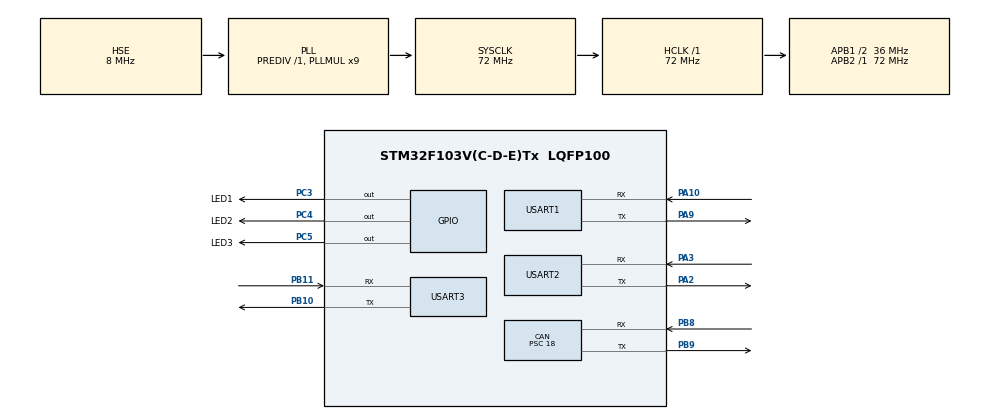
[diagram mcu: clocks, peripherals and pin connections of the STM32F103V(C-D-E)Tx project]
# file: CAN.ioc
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CAN.BS1=CAN_BS1_7TQ
CAN.BS2=CAN_BS2_8TQ
CAN.CalculateTimeBit=8000
CAN.CalculateTimeQuantum=500.0
CAN.Prescaler=18
Dma.Request0=USART2_RX
Dma.Request1=USART2_TX
Dma.USART2_RX.0.Direction=DMA_PERIPH_TO_MEMORY
Dma.USART2_RX.0.Instance=DMA1_Channel6
Dma.USART2_RX.0.MemDataAlignment=DMA_MDATAALIGN_BYTE
Dma.USART2_RX.0.MemInc=DMA_MINC_ENABLE
Dma.USART2_RX.0.Mode=DMA_NORMAL
Dma.USART2_RX.0.PeriphDataAlignment=DMA_PDATAALIGN_BYTE
Dma.USART2_RX.0.PeriphInc=DMA_PINC_DISABLE
Dma.USART2_RX.0.Priority=DMA_PRIORITY_LOW
Dma.USART2_TX.1.Direction=DMA_MEMORY_TO_PERIPH
Dma.USART2_TX.1.Instance=DMA1_Channel7
Dma.USART2_TX.1.MemDataAlignment=DMA_MDATAALIGN_BYTE
Dma.USART2_TX.1.MemInc=DMA_MINC_ENABLE
Dma.USART2_TX.1.Mode=DMA_NORMAL
Dma.USART2_TX.1.PeriphDataAlignment=DMA_PDATAALIGN_BYTE
Dma.USART2_TX.1.PeriphInc=DMA_PINC_DISABLE
Dma.USART2_TX.1.Priority=DMA_PRIORITY_LOW
FREERTOS.Tasks01=Task0,0,256,Func_Task0,Default,NULL,Dynamic,NULL,NULL;Task1,0,256,Func_Task1,Default,NULL,Dynamic,NULL,NULL
Mcu.Family=STM32F1
Mcu.Name=STM32F103V(C-D-E)Tx
Mcu.Package=LQFP100
NVIC.DMA1_Channel6_IRQn=true\:5\:0\:false\:false\:true\:true\:false
NVIC.DMA1_Channel7_IRQn=true\:5\:0\:false\:false\:true\:true\:false
NVIC.PriorityGroup=NVIC_PRIORITYGROUP_4
NVIC.TIM4_IRQn=true\:0\:0\:false\:false\:true\:false\:false
NVIC.TimeBase=TIM4_IRQn
NVIC.TimeBaseIP=TIM4
NVIC.USART1_IRQn=true\:6\:0\:true\:false\:true\:true\:true
NVIC.USART2_IRQn=true\:5\:0\:true\:true\:true\:1\:true\:true
NVIC.USART3_IRQn=true\:7\:0\:true\:true\:true\:2\:true\:true
NVIC.USB_LP_CAN1_RX0_IRQn=true\:5\:0\:false\:false\:true\:true\:true
OSC_IN.Mode=HSE-External-Oscillator
OSC_IN.Signal=RCC_OSC_IN
OSC_OUT.Mode=HSE-External-Oscillator
OSC_OUT.Signal=RCC_OSC_OUT
PA10.Mode=Asynchronous
PA10.Signal=USART1_RX
PA13.Mode=Serial_Wire
PA13.Signal=SYS_JTMS-SWDIO
PA14.Mode=Serial_Wire
PA14.Signal=SYS_JTCK-SWCLK
PA2.Mode=Asynchronous
PA2.Signal=USART2_TX
PA3.Mode=Asynchronous
PA3.Signal=USART2_RX
PA9.Mode=Asynchronous
PA9.Signal=USART1_TX
PB10.Mode=Asynchronous
PB10.Signal=USART3_TX
PB11.Mode=Asynchronous
PB11.Signal=USART3_RX
PB8.Mode=Master
PB8.Signal=CAN_RX
PB9.Mode=Master
PB9.Signal=CAN_TX
PC3.GPIO_Label=LED1
PC3.Signal=GPIO_Output
PC4.GPIO_Label=LED2
PC4.Signal=GPIO_Output
PC5.GPIO_Label=LED3
PC5.Signal=GPIO_Output
ProjectManager.HeapSize=0x200
ProjectManager.StackSize=0x400
ProjectManager.TargetToolchain=Makefile
RCC.AHBFreq_Value=72000000
RCC.APB1CLKDivider=RCC_HCLK_DIV2
RCC.APB1Freq_Value=36000000
RCC.APB1TimFreq_Value=72000000
RCC.APB2Freq_Value=72000000
RCC.APB2TimFreq_Value=72000000
RCC.HCLKFreq_Value=72000000
RCC.PLLMUL=RCC_PLL_MUL9
RCC.PLLSourceVirtual=RCC_PLLSOURCE_HSE
RCC.SYSCLKFreq_VALUE=72000000
RCC.SYSCLKSource=RCC_SYSCLKSOURCE_PLLCLK
RCC.USBFreq_Value=72000000
USART1.VirtualMode=VM_ASYNC
USART2.VirtualMode=VM_ASYNC
USART3.VirtualMode=VM_ASYNC
VP_FREERTOS_VS_ENABLE.Mode=Enabled
VP_SYS_VS_tim4.Mode=TIM4
board=custom

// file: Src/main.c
/**
  ******************************************************************************
  * @file           : main.c
  * @brief          : Main program body
  ******************************************************************************
  * This notice applies to any and all portions of this file
  * that are not between comment pairs USER CODE BEGIN and
  * USER CODE END. Other portions of this file, whether
  * inserted by the user or by software development tools
  * are owned by their respective copyright owners.
  *
  * Copyright (c) 2019 STMicroelectronics International N.V.
  * All rights reserved.
  *
  * Redistribution and use in source and binary forms, with or without
  * modification, are permitted, provided that the following conditions are met:
  *
  * 1. Redistribution of source code must retain the above copyright notice,
  *    this list of conditions and the following disclaimer.
  * 2. Redistributions in binary form must reproduce the above copyright notice,
  *    this list of conditions and the following disclaimer in the documentation
  *    and/or other materials provided with the distribution.
  * 3. Neither the name of STMicroelectronics nor the names of other
  *    contributors to this software may be used to endorse or promote products
  *    derived from this software without specific written permission.
  * 4. This software, including modifications and/or derivative works of this
  *    software, must execute solely and exclusively on microcontroller or
  *    microprocessor devices manufactured by or for STMicroelectronics.
  * 5. Redistribution and use of this software other than as permitted under
  *    this license is void and will automatically terminate your rights under
  *    this license.
  *
  * THIS SOFTWARE IS PROVIDED BY STMICROELECTRONICS AND CONTRIBUTORS "AS IS"
  * AND ANY EXPRESS, IMPLIED OR STATUTORY WARRANTIES, INCLUDING, BUT NOT
  * LIMITED TO, THE IMPLIED WARRANTIES OF MERCHANTABILITY, FITNESS FOR A
  * PARTICULAR PURPOSE AND NON-INFRINGEMENT OF THIRD PARTY INTELLECTUAL PROPERTY
  * RIGHTS ARE DISCLAIMED TO THE FULLEST EXTENT PERMITTED BY LAW. IN NO EVENT
  * SHALL STMICROELECTRONICS OR CONTRIBUTORS BE LIABLE FOR ANY DIRECT, INDIRECT,
  * INCIDENTAL, SPECIAL, EXEMPLARY, OR CONSEQUENTIAL DAMAGES (INCLUDING, BUT NOT
  * LIMITED TO, PROCUREMENT OF SUBSTITUTE GOODS OR SERVICES; LOSS OF USE, DATA,
  * OR PROFITS; OR BUSINESS INTERRUPTION) HOWEVER CAUSED AND ON ANY THEORY OF
  * LIABILITY, WHETHER IN CONTRACT, STRICT LIABILITY, OR TORT (INCLUDING
  * NEGLIGENCE OR OTHERWISE) ARISING IN ANY WAY OUT OF THE USE OF THIS SOFTWARE,
  * EVEN IF ADVISED OF THE POSSIBILITY OF SUCH DAMAGE.
  *
  ******************************************************************************
  */
#include "main.h"
#include "stm32f1xx_hal.h"
#include "cmsis_os.h"

CAN_HandleTypeDef hcan;

UART_HandleTypeDef huart1;
UART_HandleTypeDef huart2;
UART_HandleTypeDef huart3;
DMA_HandleTypeDef hdma_usart2_rx;
DMA_HandleTypeDef hdma_usart2_tx;

osThreadId Task0Handle;
osThreadId Task1Handle;

/* USER CODE BEGIN PV */
/* Private variables ---------------------------------------------------------*/
CAN_FilterConfTypeDef  sFliterConfig;
CanTxMsgTypeDef TxMessage;
CanRxMsgTypeDef RxMessage;

uint8_t aRxBuffer1[1];
uint8_t aRxBuffer2[1];
uint8_t aRxBuffer3[1];

int aRxBuffer2_Data_Size = 256;
uint8_t aRxBuffer2_Data[256];
uint8_t recv_end_flag = 0;
uint8_t rx_len = 0;
/* USER CODE END PV */

void SystemClock_Config(void);
static void MX_GPIO_Init(void);
static void MX_DMA_Init(void);
static void MX_CAN_Init(void);
static void MX_USART1_UART_Init(void);
static void MX_USART2_UART_Init(void);
static void MX_USART3_UART_Init(void);
void Func_Task0(void const * argument);
void Func_Task1(void const * argument);
static void MX_NVIC_Init(void);

/* USER CODE BEGIN PFP */
/* Private function prototypes -----------------------------------------------*/

/* USER CODE END PFP */

int main(void)
{

  /* MCU Configuration----------------------------------------------------------*/

  /* Reset of all peripherals, Initializes the Flash interface and the Systick. */
  HAL_Init();

  /* Configure the system clock */
  SystemClock_Config();

  /* Initialize all configured peripherals */
  MX_GPIO_Init();
  MX_DMA_Init();
  MX_CAN_Init();
  MX_USART1_UART_Init();
  MX_USART2_UART_Init();
  MX_USART3_UART_Init();

  /* Initialize interrupts */
  MX_NVIC_Init();

  /* Create the thread(s) */
  /* definition and creation of Task0 */
  osThreadDef(Task0, Func_Task0, osPriorityNormal, 0, 256);
  Task0Handle = osThreadCreate(osThread(Task0), NULL);

  /* definition and creation of Task1 */
  osThreadDef(Task1, Func_Task1, osPriorityNormal, 0, 256);
  Task1Handle = osThreadCreate(osThread(Task1), NULL);

  /* Start scheduler */
  osKernelStart();

  /* We should never get here as control is now taken by the scheduler */

  /* Infinite loop */
  while (1)
  {

  }

}

void SystemClock_Config(void)
{

  RCC_OscInitTypeDef RCC_OscInitStruct;
  RCC_ClkInitTypeDef RCC_ClkInitStruct;

    /**Initializes the CPU, AHB and APB busses clocks
    */
  RCC_OscInitStruct.OscillatorType = RCC_OSCILLATORTYPE_HSE;
  RCC_OscInitStruct.HSEState = RCC_HSE_ON;
  RCC_OscInitStruct.HSEPredivValue = RCC_HSE_PREDIV_DIV1;
  RCC_OscInitStruct.HSIState = RCC_HSI_ON;
  RCC_OscInitStruct.PLL.PLLState = RCC_PLL_ON;
  RCC_OscInitStruct.PLL.PLLSource = RCC_PLLSOURCE_HSE;
  RCC_OscInitStruct.PLL.PLLMUL = RCC_PLL_MUL9;
  if (HAL_RCC_OscConfig(&RCC_OscInitStruct) != HAL_OK)
  {
    _Error_Handler(__FILE__, __LINE__);
  }

    /**Initializes the CPU, AHB and APB busses clocks
    */
  RCC_ClkInitStruct.ClockType = RCC_CLOCKTYPE_HCLK|RCC_CLOCKTYPE_SYSCLK
                              |RCC_CLOCKTYPE_PCLK1|RCC_CLOCKTYPE_PCLK2;
  RCC_ClkInitStruct.SYSCLKSource = RCC_SYSCLKSOURCE_PLLCLK;
  RCC_ClkInitStruct.AHBCLKDivider = RCC_SYSCLK_DIV1;
  RCC_ClkInitStruct.APB1CLKDivider = RCC_HCLK_DIV2;
  RCC_ClkInitStruct.APB2CLKDivider = RCC_HCLK_DIV1;

  if (HAL_RCC_ClockConfig(&RCC_ClkInitStruct, FLASH_LATENCY_2) != HAL_OK)
  {
    _Error_Handler(__FILE__, __LINE__);
  }

    /**Configure the Systick interrupt time
    */
  HAL_SYSTICK_Config(HAL_RCC_GetHCLKFreq()/1000);

    /**Configure the Systick
    */
  HAL_SYSTICK_CLKSourceConfig(SYSTICK_CLKSOURCE_HCLK);

  /* SysTick_IRQn interrupt configuration */
  HAL_NVIC_SetPriority(SysTick_IRQn, 15, 0);
}

/**
  * @brief NVIC Configuration.
  * @retval None
  */
static void MX_NVIC_Init(void)
{
  /* USART2_IRQn interrupt configuration */
  HAL_NVIC_SetPriority(USART2_IRQn, 5, 0);
  HAL_NVIC_EnableIRQ(USART2_IRQn);
  /* USART3_IRQn interrupt configuration */
  HAL_NVIC_SetPriority(USART3_IRQn, 7, 0);
  HAL_NVIC_EnableIRQ(USART3_IRQn);
}

/* CAN init function */
static void MX_CAN_Init(void)
{

  hcan.Instance = CAN1;
  hcan.Init.Prescaler = 18;
  hcan.Init.Mode = CAN_MODE_NORMAL;
  hcan.Init.SJW = CAN_SJW_1TQ;
  hcan.Init.BS1 = CAN_BS1_7TQ;
  hcan.Init.BS2 = CAN_BS2_8TQ;
  hcan.Init.TTCM = DISABLE;
  hcan.Init.ABOM = DISABLE;
  hcan.Init.AWUM = DISABLE;
  hcan.Init.NART = DISABLE;
  hcan.Init.RFLM = DISABLE;
  hcan.Init.TXFP = DISABLE;
  if (HAL_CAN_Init(&hcan) != HAL_OK)
  {
    _Error_Handler(__FILE__, __LINE__);
  }

}

/* USART1 init function */
static void MX_USART1_UART_Init(void)
{

  huart1.Instance = USART1;
  huart1.Init.BaudRate = 115200;
  huart1.Init.WordLength = UART_WORDLENGTH_8B;
  huart1.Init.StopBits = UART_STOPBITS_1;
  huart1.Init.Parity = UART_PARITY_NONE;
  huart1.Init.Mode = UART_MODE_TX_RX;
  huart1.Init.HwFlowCtl = UART_HWCONTROL_NONE;
  huart1.Init.OverSampling = UART_OVERSAMPLING_16;
  if (HAL_UART_Init(&huart1) != HAL_OK)
  {
    _Error_Handler(__FILE__, __LINE__);
  }

}

/* USART2 init function */
static void MX_USART2_UART_Init(void)
{

  huart2.Instance = USART2;
  huart2.Init.BaudRate = 115200;
  huart2.Init.WordLength = UART_WORDLENGTH_8B;
  huart2.Init.StopBits = UART_STOPBITS_1;
  huart2.Init.Parity = UART_PARITY_NONE;
  huart2.Init.Mode = UART_MODE_TX_RX;
  huart2.Init.HwFlowCtl = UART_HWCONTROL_NONE;
  huart2.Init.OverSampling = UART_OVERSAMPLING_16;
  if (HAL_UART_Init(&huart2) != HAL_OK)
  {
    _Error_Handler(__FILE__, __LINE__);
  }

}

/* USART3 init function */
static void MX_USART3_UART_Init(void)
{

  huart3.Instance = USART3;
  huart3.Init.BaudRate = 115200;
  huart3.Init.WordLength = UART_WORDLENGTH_8B;
  huart3.Init.StopBits = UART_STOPBITS_1;
  huart3.Init.Parity = UART_PARITY_NONE;
  huart3.Init.Mode = UART_MODE_TX_RX;
  huart3.Init.HwFlowCtl = UART_HWCONTROL_NONE;
  huart3.Init.OverSampling = UART_OVERSAMPLING_16;
  if (HAL_UART_Init(&huart3) != HAL_OK)
  {
    _Error_Handler(__FILE__, __LINE__);
  }

}

static void MX_DMA_Init(void)
{
  /* DMA controller clock enable */
  __HAL_RCC_DMA1_CLK_ENABLE();

  /* DMA interrupt init */
  /* DMA1_Channel6_IRQn interrupt configuration */
  HAL_NVIC_SetPriority(DMA1_Channel6_IRQn, 5, 0);
  HAL_NVIC_EnableIRQ(DMA1_Channel6_IRQn);
  /* DMA1_Channel7_IRQn interrupt configuration */
  HAL_NVIC_SetPriority(DMA1_Channel7_IRQn, 5, 0);
  HAL_NVIC_EnableIRQ(DMA1_Channel7_IRQn);

}

/** Configure pins as
        * Analog
        * Input
        * Output
        * EVENT_OUT
        * EXTI
*/
static void MX_GPIO_Init(void)
{

  GPIO_InitTypeDef GPIO_InitStruct;

  /* GPIO Ports Clock Enable */
  __HAL_RCC_GPIOC_CLK_ENABLE();
  __HAL_RCC_GPIOA_CLK_ENABLE();
  __HAL_RCC_GPIOB_CLK_ENABLE();

  /*Configure GPIO pin Output Level */
  HAL_GPIO_WritePin(GPIOC, LED1_Pin|LED2_Pin|LED3_Pin, GPIO_PIN_RESET);

  /*Configure GPIO pins : LED1_Pin LED2_Pin LED3_Pin */
  GPIO_InitStruct.Pin = LED1_Pin|LED2_Pin|LED3_Pin;
  GPIO_InitStruct.Mode = GPIO_MODE_OUTPUT_PP;
  GPIO_InitStruct.Pull = GPIO_NOPULL;
  GPIO_InitStruct.Speed = GPIO_SPEED_FREQ_LOW;
  HAL_GPIO_Init(GPIOC, &GPIO_InitStruct);

}

/* USER CODE BEGIN 4 */
/* USER CODE BEGIN 4 */
/* USER CODE END 4 */

/* Func_Task0 function */
void Func_Task0(void const * argument)
{

  /* USER CODE BEGIN 5 */
  hcan.pTxMsg = &TxMessage;    // hc.pTxMsg 按 TxMessage格式

  HAL_UART_Transmit(&huart1,"\r\nFunc_Task0\r\n",14,10);

  hcan.pTxMsg -> ExtId = 0x1314;
  hcan.pTxMsg -> RTR = CAN_RTR_DATA;
  hcan.pTxMsg -> IDE = CAN_ID_EXT;
  hcan.pTxMsg -> DLC = 2;
  hcan.pTxMsg -> Data[0] = 0xAB;
  hcan.pTxMsg -> Data[1] = 0xCD;

  HAL_CAN_Transmit(&hcan, 10);  // 注意第二个参数是timeout，与常规库函数不同
  /* Infinite loop */
  for(;;)
  {
    osDelay(1000);
    HAL_GPIO_WritePin(LED1_GPIO_Port, LED1_Pin, GPIO_PIN_RESET);
    HAL_CAN_Transmit(&hcan, 10);

    osDelay(1000);
    HAL_GPIO_WritePin(LED1_GPIO_Port, LED1_Pin, GPIO_PIN_SET);
    HAL_CAN_Transmit(&hcan, 10);
  }
  /* USER CODE END 5 */
}

/* Func_Task1 function */
void Func_Task1(void const * argument)
{
  /* USER CODE BEGIN Func_Task1 */
  // HAL_UART_Receive_IT(&huart2,aRxBuffer2,1);
  HAL_UART_Transmit(&huart3,"\r\nFunc_Task1\r\n",14,10);

  HAL_UART_Transmit(&huart2,"AT+CWMODE=2\r\n",13,10);
  osDelay(5000);
  HAL_UART_Transmit(&huart2,"AT+RST\r\n",8,10);
  osDelay(10000);
  HAL_UART_Transmit(&huart2,"AT+CWSAP=\"PYY_8266\",\"12345678\",6,4\r\n",36,10);
  osDelay(50);
  HAL_UART_Transmit(&huart2,"AT+CIPMUX=1\r\n",13,10);
  osDelay(50);
  HAL_UART_Transmit(&huart2,"AT+CIPSERVER=1,333\r\n",20,10);
  osDelay(10000);
  HAL_UART_Transmit(&huart2,"AT+CIFSR\r\n",10,10);
  osDelay(50);

  HAL_UART_Transmit(&huart3,"\r\nFINISHED\r\n",12,10);
  /* Infinite loop */
  for(;;)
  {
    // osDelay(1000);
    if(recv_end_flag ==1)
    {
        //printf("rx_len=%d\r\n",rx_len);//打印接收长度
        HAL_UART_Transmit(&huart2,aRxBuffer2_Data, rx_len,256);// 接收数据打印出来
        for(uint8_t i=0;i<rx_len;i++)
        {
            aRxBuffer2_Data[i]=0;//清接收缓存
        }
        rx_len=0;//清除计数
        recv_end_flag=0;//清除接收结束标志位
    }
      HAL_UART_Receive_DMA(&huart2,aRxBuffer2_Data,aRxBuffer2_Data_Size);//重新打开DMA接收
    // if (aRxBuffer2_Data_flag == 1)
    //   HAL_UART_Transmit(&huart3,aRxBuffer2_Data,4,10);
    // HAL_UART_Transmit(&huart3,"\r\nFunc_Task1_Loop\r\n",19,10);
  }
  /* USER CODE END Func_Task1 */
}

void HAL_TIM_PeriodElapsedCallback(TIM_HandleTypeDef *htim)
{
  if (htim->Instance == TIM4) {
    HAL_IncTick();
  }
}

void _Error_Handler(char *file, int line)
{
  while(1)
  {
  }
}

/************************ (C) COPYRIGHT STMicroelectronics *****END OF FILE****/
